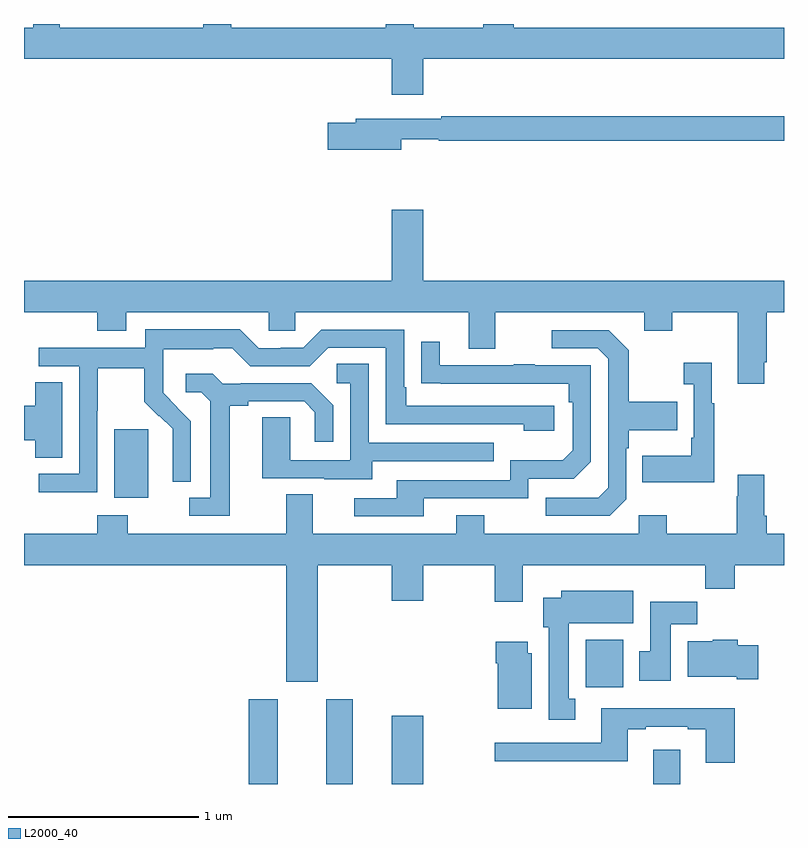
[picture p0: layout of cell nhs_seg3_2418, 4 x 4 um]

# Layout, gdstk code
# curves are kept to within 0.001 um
import gdstk
lib = gdstk.Library(unit=1e-6, precision=1e-09)
def R(c, l, rs):  # rectangles x0, y0, x1, y1
    for r in rs: c.add(gdstk.rectangle(r[:2], r[2:], *l))
def P(c, l, *ps):  # polygons
    for p in ps: c.add(gdstk.Polygon(p, *l))
L2000_40 = (2000, 40)

nhs_seg3_2418 = lib.new_cell('nhs_seg3_2418')
R(nhs_seg3_2418, L2000_40, [(236.183,730.4,236.335,730.846), (236.591,730.4,236.731,730.846), (236.936,730.4,237.1,730.759), (238.313,730.4,238.453,730.579), (237.957,730.908,238.153,731.158), (235.475,731.906,235.654,732.267)])
P(nhs_seg3_2418, L2000_40, [(237.1,734.216),(239,734.216),(239,734.38),(237.578,734.38),(237.578,734.4),(237.418,734.4),(237.418,734.38),(237.051,734.38),(237.051,734.4),(236.904,734.4),(236.904,734.38),(236.091,734.38),(236.091,734.4),(235.943,734.4),(235.943,734.38),(235.189,734.38),(235.189,734.4),(235.049,734.4),(235.049,734.38),(235,734.38),(235,734.216),(236.936,734.216),(236.936,734.028),(237.1,734.028)],
  [(236.986,733.794),(237.182,733.794),(237.182,733.786),(239,733.786),(239,733.915),(237.196,733.915),(237.196,733.902),(236.747,733.902),(236.747,733.881),(236.598,733.881),(236.598,733.739),(236.986,733.739)],
  [(238.897,732.619),(238.91,732.619),(238.91,732.884),(239,732.884),(239,733.048),(237.1,733.048),(237.1,733.423),(236.936,733.423),(236.936,733.048),(235,733.048),(235,732.884),(235.385,732.884),(235.385,732.785),(235.537,732.785),(235.537,732.884),(236.289,732.884),(236.289,732.786),(236.427,732.786),(236.427,732.884),(237.341,732.884),(237.341,732.69),(237.481,732.69),(237.481,732.884),(238.265,732.884),(238.265,732.785),(238.413,732.785),(238.413,732.884),(238.757,732.884),(238.757,732.507),(238.897,732.507)],
  [(235.386,732.364),(235.389,732.364),(235.389,732.588),(235.633,732.588),(235.633,732.413),(235.71,732.336),(235.713,732.339),(235.784,732.269),(235.784,732.146),(235.782,732.146),(235.782,731.992),(235.878,731.992),(235.878,732.31),(235.732,732.458),(235.732,732.555),(235.734,732.555),(235.734,732.689),(235.997,732.689),(235.997,732.693),(236.097,732.693),(236.19,732.6),(236.505,732.6),(236.601,732.696),(236.904,732.696),(236.904,732.294),(237.629,732.294),(237.629,732.26),(237.79,732.26),(237.79,732.39),(237.013,732.39),(237.013,732.487),(237,732.487),(237,732.792),(236.565,732.792),(236.469,732.696),(236.351,732.696),(236.351,732.693),(236.235,732.693),(236.135,732.793),(235.638,732.793),(235.638,732.696),(235.077,732.696),(235.077,732.6),(235.29,732.6),(235.29,732.033),(235.077,732.033),(235.077,731.935),(235.386,731.935)],
  [(238.17,731.898),(238.17,732.167),(238.183,732.167),(238.183,732.263),(238.439,732.263),(238.439,732.411),(238.183,732.411),(238.183,732.683),(238.077,732.789),(237.777,732.789),(237.777,732.693),(238.02,732.693),(238.074,732.639),(238.074,731.958),(238.023,731.907),(237.747,731.907),(237.747,731.811),(238.083,731.811)],
  [(237.103,731.904),(237.654,731.904),(237.654,732.006),(237.894,732.006),(237.984,732.096),(237.984,732.603),(237.689,732.603),(237.689,732.608),(237.577,732.608),(237.577,732.603),(237.187,732.603),(237.187,732.727),(237.091,732.727),(237.091,732.508),(237.868,732.507),(237.868,732.41),(237.888,732.41),(237.888,732.156),(237.835,732.103),(237.558,732.103),(237.558,732),(236.963,732),(236.963,731.904),(236.739,731.904),(236.739,731.808),(237.103,731.808)],
  [(238.633,732.403),(238.621,732.403),(238.621,732.616),(238.473,732.616),(238.473,732.503),(238.524,732.503),(238.524,732.223),(238.512,732.223),(238.512,732.127),(238.255,732.127),(238.255,731.987),(238.633,731.987)],
  [(236.833,732.099),(237.473,732.099),(237.473,732.195),(236.814,732.195),(236.814,732.611),(236.646,732.611),(236.646,732.51),(236.718,732.51),(236.718,732.105),(236.4,732.105),(236.4,732.329),(236.255,732.329),(236.255,732.009),(236.579,732.009),(236.579,732.005),(236.833,732.005)],
  [(236.083,732.392),(236.179,732.392),(236.179,732.414),(236.474,732.414),(236.531,732.357),(236.531,732.201),(236.628,732.201),(236.628,732.394),(236.512,732.51),(236.14,732.51),(236.14,732.507),(236.046,732.507),(235.994,732.559),(235.851,732.559),(235.851,732.462),(235.932,732.462),(235.979,732.415),(235.979,731.907),(235.869,731.907),(235.869,731.811),(236.083,731.811)],
  [(235.201,732.515),(235.058,732.515),(235.058,732.392),(235,732.392),(235,732.209),(235.058,732.209),(235.058,732.118),(235.201,732.118)],
  [(236.545,731.552),(236.936,731.552),(236.936,731.364),(237.1,731.364),(237.1,731.552),(237.478,731.552),(237.478,731.358),(237.625,731.358),(237.625,731.552),(238.585,731.552),(238.585,731.428),(238.742,731.428),(238.742,731.552),(239,731.552),(239,731.716),(238.91,731.716),(238.91,731.812),(238.897,731.812),(238.897,732.028),(238.757,732.028),(238.757,731.915),(238.75,731.915),(238.75,731.716),(238.383,731.716),(238.383,731.815),(238.236,731.815),(238.236,731.716),(237.423,731.716),(237.423,731.815),(237.275,731.815),(237.275,731.716),(236.521,731.716),(236.521,731.924),(236.381,731.924),(236.381,731.716),(235.545,731.716),(235.545,731.815),(235.385,731.815),(235.385,731.716),(235,731.716),(235,731.552),(236.381,731.552),(236.381,730.938),(236.545,730.938)],
  [(237.901,730.849),(237.868,730.849),(237.868,731.246),(238.207,731.246),(238.207,731.416),(237.827,731.416),(237.827,731.38),(237.734,731.38),(237.734,731.226),(237.761,731.226),(237.761,730.737),(237.901,730.737)],
  [(238.405,731.24),(238.544,731.24),(238.544,731.358),(238.295,731.358),(238.295,731.1),(238.238,731.1),(238.238,730.944),(238.405,730.944)],
  [(238.864,731.13),(238.757,731.13),(238.757,731.158),(238.626,731.158),(238.626,731.152),(238.493,731.152),(238.493,730.964),(238.751,730.964),(238.751,730.952),(238.864,730.952)],
  [(237.673,731.088),(237.652,731.088),(237.652,731.149),(237.482,731.149),(237.482,731.036),(237.494,731.036),(237.494,730.796),(237.673,730.796)],
  [(238.742,730.798),(238.037,730.798),(238.037,730.617),(237.477,730.617),(237.477,730.52),(238.177,730.52),(238.177,730.689),(238.273,730.689),(238.273,730.701),(238.493,730.701),(238.493,730.689),(238.589,730.689),(238.589,730.512),(238.742,730.512)])

lib.write_gds('nhs_seg3_2418.gds')
